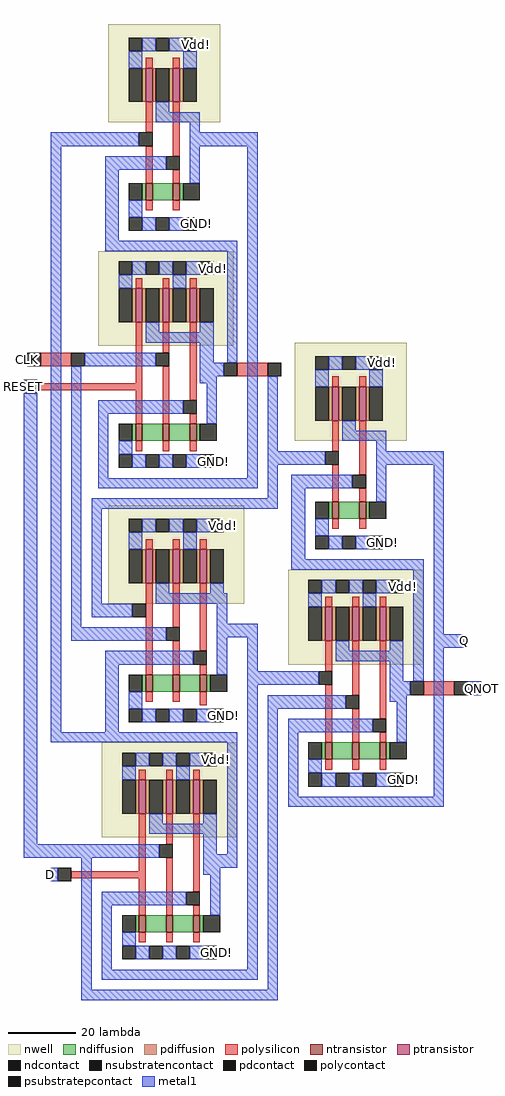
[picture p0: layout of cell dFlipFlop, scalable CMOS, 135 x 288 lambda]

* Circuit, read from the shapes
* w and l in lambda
.subckt dFlipFlop CLK D GND! Q QNOT RESET Vdd!
M1 n1 RESET GND! GND! nfet w=5 l=2
M2 n2 D GND! GND! nfet w=5 l=2
M3 n3 n4 GND! GND! nfet w=5 l=2
M4 n5 n6 GND! GND! nfet w=5 l=2
M5 n7 CLK n1 GND! nfet w=5 l=2
M6 n8 RESET n2 GND! nfet w=5 l=2
M7 n9 CLK n3 GND! nfet w=5 l=2
M8 n10 n4 n5 GND! nfet w=5 l=2
M9 n4 n10 n7 GND! nfet w=5 l=2
M10 n6 n11 n8 GND! nfet w=5 l=2
M11 n11 n6 n9 GND! nfet w=5 l=2
M12 n12 n11 GND! GND! nfet w=5 l=2
M13 n13 n4 GND! GND! nfet w=5 l=2
M14 n14 RESET n12 GND! nfet w=5 l=2
M15 Q QNOT n13 GND! nfet w=5 l=2
M16 QNOT Q n14 GND! nfet w=5 l=2
M17 n4 RESET Vdd! Vdd! pfet w=10 l=2
M18 n6 D Vdd! Vdd! pfet w=10 l=2
M19 n11 n4 Vdd! Vdd! pfet w=10 l=2
M20 n10 n6 Vdd! Vdd! pfet w=10 l=2
M21 Vdd! CLK n4 Vdd! pfet w=10 l=2
M22 Vdd! RESET n6 Vdd! pfet w=10 l=2
M23 Vdd! CLK n11 Vdd! pfet w=10 l=2
M24 Vdd! n4 n10 Vdd! pfet w=10 l=2
M25 n4 n10 Vdd! Vdd! pfet w=10 l=2
M26 n6 n11 Vdd! Vdd! pfet w=10 l=2
M27 n11 n6 Vdd! Vdd! pfet w=10 l=2
M28 QNOT n11 Vdd! Vdd! pfet w=10 l=2
M29 Q n4 Vdd! Vdd! pfet w=10 l=2
M30 Vdd! RESET QNOT Vdd! pfet w=10 l=2
M31 Vdd! QNOT Q Vdd! pfet w=10 l=2
M32 QNOT Q Vdd! Vdd! pfet w=10 l=2
.ends

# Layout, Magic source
magic
tech scmos
<< nwell >>
rect 46 113 79 142
rect 43 47 83 75
rect 101 19 134 48
rect 46 -29 86 0
rect 99 -47 139 -19
rect 44 -98 84 -70
<< polysilicon >>
rect 57 129 59 132
rect 65 129 67 132
rect 57 110 59 119
rect 57 95 59 106
rect 65 103 67 119
rect 65 95 67 99
rect 57 87 59 90
rect 65 87 67 90
rect 54 64 56 67
rect 62 64 64 67
rect 70 64 72 67
rect 26 41 35 45
rect 54 36 56 54
rect 62 45 64 54
rect 25 34 56 36
rect 54 24 56 34
rect 62 24 64 41
rect 70 31 72 54
rect 84 38 93 42
rect 112 35 114 38
rect 120 35 122 38
rect 70 24 72 27
rect 54 16 56 19
rect 62 16 64 19
rect 70 16 72 19
rect 112 16 114 25
rect 112 1 114 12
rect 120 9 122 25
rect 120 1 122 5
rect 112 -7 114 -4
rect 120 -7 122 -4
rect 57 -13 59 -10
rect 65 -13 67 -10
rect 73 -13 75 -10
rect 57 -50 59 -23
rect 65 -36 67 -23
rect 65 -50 67 -40
rect 73 -43 75 -23
rect 110 -30 112 -27
rect 118 -30 120 -27
rect 126 -30 128 -27
rect 73 -50 75 -47
rect 110 -49 112 -40
rect 57 -58 59 -55
rect 65 -58 67 -55
rect 73 -59 75 -55
rect 110 -70 112 -53
rect 118 -56 120 -40
rect 118 -70 120 -60
rect 126 -63 128 -40
rect 139 -56 148 -52
rect 126 -70 128 -67
rect 110 -78 112 -75
rect 118 -78 120 -75
rect 126 -78 128 -75
rect 55 -81 57 -78
rect 63 -81 65 -78
rect 71 -81 73 -78
rect 55 -108 57 -91
rect 63 -100 65 -91
rect 35 -110 57 -108
rect 55 -121 57 -110
rect 63 -121 65 -104
rect 71 -114 73 -91
rect 71 -121 73 -118
rect 55 -129 57 -126
rect 63 -129 65 -126
rect 71 -129 73 -126
<< ndiffusion >>
rect 56 90 57 95
rect 59 90 65 95
rect 67 90 68 95
rect 53 19 54 24
rect 56 19 62 24
rect 64 19 70 24
rect 72 19 73 24
rect 111 -4 112 1
rect 114 -4 120 1
rect 122 -4 123 1
rect 56 -55 57 -50
rect 59 -55 65 -50
rect 67 -55 73 -50
rect 75 -55 76 -50
rect 109 -75 110 -70
rect 112 -75 118 -70
rect 120 -75 126 -70
rect 128 -75 129 -70
rect 54 -126 55 -121
rect 57 -126 63 -121
rect 65 -126 71 -121
rect 73 -126 74 -121
<< pdiffusion >>
rect 56 119 57 129
rect 59 119 60 129
rect 64 119 65 129
rect 67 119 68 129
rect 53 54 54 64
rect 56 54 57 64
rect 61 54 62 64
rect 64 54 65 64
rect 69 54 70 64
rect 72 54 73 64
rect 111 25 112 35
rect 114 25 115 35
rect 119 25 120 35
rect 122 25 123 35
rect 56 -23 57 -13
rect 59 -23 60 -13
rect 64 -23 65 -13
rect 67 -23 68 -13
rect 72 -23 73 -13
rect 75 -23 76 -13
rect 109 -40 110 -30
rect 112 -40 113 -30
rect 117 -40 118 -30
rect 120 -40 121 -30
rect 125 -40 126 -30
rect 128 -40 129 -30
rect 54 -91 55 -81
rect 57 -91 58 -81
rect 62 -91 63 -81
rect 65 -91 66 -81
rect 70 -91 71 -81
rect 73 -91 74 -81
<< metal1 >>
rect 56 134 60 138
rect 64 134 68 138
rect 52 129 56 134
rect 68 129 72 134
rect 60 116 64 119
rect 60 113 73 116
rect 70 110 73 113
rect 29 106 55 110
rect 70 106 90 110
rect 21 -100 25 33
rect 29 -67 32 106
rect 45 99 63 103
rect 45 78 49 99
rect 70 95 73 106
rect 52 85 56 90
rect 56 81 60 85
rect 64 81 68 85
rect 45 75 84 78
rect 53 68 57 72
rect 61 68 65 72
rect 69 68 73 72
rect 49 64 53 68
rect 65 64 69 68
rect 57 51 61 54
rect 73 51 77 54
rect 57 48 77 51
rect 39 41 60 45
rect 73 42 77 48
rect 81 42 84 75
rect 35 -36 38 41
rect 73 38 80 42
rect 73 36 78 38
rect 43 27 68 31
rect 43 8 46 27
rect 75 24 78 36
rect 49 15 53 19
rect 53 11 57 15
rect 61 11 65 15
rect 69 11 73 15
rect 87 8 90 106
rect 43 5 90 8
rect 111 40 115 44
rect 119 40 123 44
rect 93 16 96 38
rect 107 35 111 40
rect 123 35 127 40
rect 115 22 119 25
rect 115 19 128 22
rect 125 16 128 19
rect 93 12 110 16
rect 125 12 145 16
rect 93 2 96 12
rect 41 -1 96 2
rect 100 5 118 9
rect 41 -29 44 -1
rect 56 -8 60 -4
rect 64 -8 68 -4
rect 72 -8 76 -4
rect 52 -13 56 -8
rect 68 -13 72 -8
rect 100 -16 104 5
rect 125 1 128 12
rect 107 -9 111 -4
rect 111 -13 115 -9
rect 119 -13 123 -9
rect 100 -19 139 -16
rect 60 -26 64 -23
rect 76 -26 80 -23
rect 109 -26 113 -22
rect 117 -26 121 -22
rect 125 -26 129 -22
rect 60 -29 81 -26
rect 41 -33 53 -29
rect 78 -35 81 -29
rect 105 -30 109 -26
rect 121 -30 125 -26
rect 35 -40 63 -36
rect 78 -39 90 -35
rect 45 -47 71 -43
rect 45 -67 49 -47
rect 78 -50 81 -39
rect 87 -49 90 -39
rect 113 -43 117 -40
rect 129 -43 133 -40
rect 113 -46 133 -43
rect 87 -53 108 -49
rect 129 -52 133 -46
rect 136 -52 139 -19
rect 52 -60 56 -55
rect 56 -64 60 -60
rect 64 -64 68 -60
rect 72 -64 76 -60
rect 29 -70 84 -67
rect 54 -77 58 -73
rect 62 -77 66 -73
rect 70 -77 74 -73
rect 50 -81 54 -77
rect 66 -81 70 -77
rect 58 -94 62 -91
rect 74 -94 78 -91
rect 58 -97 78 -94
rect 21 -104 61 -100
rect 74 -103 78 -97
rect 81 -103 84 -70
rect 29 -111 31 -107
rect 38 -143 41 -104
rect 74 -107 84 -103
rect 74 -109 79 -107
rect 44 -118 69 -114
rect 44 -137 47 -118
rect 76 -121 79 -109
rect 50 -130 54 -126
rect 54 -134 58 -130
rect 62 -134 66 -130
rect 70 -134 74 -130
rect 87 -137 90 -53
rect 129 -56 135 -52
rect 142 -38 145 12
rect 142 -42 151 -38
rect 44 -140 90 -137
rect 93 -60 116 -56
rect 129 -58 134 -56
rect 93 -143 96 -60
rect 99 -67 124 -63
rect 99 -86 102 -67
rect 131 -70 134 -58
rect 105 -79 109 -75
rect 109 -83 113 -79
rect 117 -83 121 -79
rect 125 -83 129 -79
rect 142 -86 145 -42
rect 152 -56 156 -52
rect 99 -89 145 -86
rect 38 -146 96 -143
<< ntransistor >>
rect 57 90 59 95
rect 65 90 67 95
rect 54 19 56 24
rect 62 19 64 24
rect 70 19 72 24
rect 112 -4 114 1
rect 120 -4 122 1
rect 57 -55 59 -50
rect 65 -55 67 -50
rect 73 -55 75 -50
rect 110 -75 112 -70
rect 118 -75 120 -70
rect 126 -75 128 -70
rect 55 -126 57 -121
rect 63 -126 65 -121
rect 71 -126 73 -121
<< ptransistor >>
rect 57 119 59 129
rect 65 119 67 129
rect 54 54 56 64
rect 62 54 64 64
rect 70 54 72 64
rect 112 25 114 35
rect 120 25 122 35
rect 57 -23 59 -13
rect 65 -23 67 -13
rect 73 -23 75 -13
rect 110 -40 112 -30
rect 118 -40 120 -30
rect 126 -40 128 -30
rect 55 -91 57 -81
rect 63 -91 65 -81
rect 71 -91 73 -81
<< polycontact >>
rect 55 106 59 110
rect 63 99 67 103
rect 22 41 26 45
rect 35 41 39 45
rect 21 33 25 37
rect 60 41 64 45
rect 80 38 84 42
rect 93 38 97 42
rect 68 27 72 31
rect 110 12 114 16
rect 118 5 122 9
rect 53 -33 57 -29
rect 63 -40 67 -36
rect 71 -47 75 -43
rect 108 -53 112 -49
rect 116 -60 120 -56
rect 135 -56 139 -52
rect 148 -56 152 -52
rect 124 -67 128 -63
rect 31 -111 35 -107
rect 61 -104 65 -100
rect 69 -118 73 -114
<< ndcontact >>
rect 52 90 56 95
rect 68 90 73 95
rect 49 19 53 24
rect 73 19 78 24
rect 107 -4 111 1
rect 123 -4 128 1
rect 52 -55 56 -50
rect 76 -55 81 -50
rect 105 -75 109 -70
rect 129 -75 134 -70
rect 50 -126 54 -121
rect 74 -126 79 -121
<< pdcontact >>
rect 52 119 56 129
rect 60 119 64 129
rect 68 119 72 129
rect 49 54 53 64
rect 57 54 61 64
rect 65 54 69 64
rect 73 54 77 64
rect 107 25 111 35
rect 115 25 119 35
rect 123 25 127 35
rect 52 -23 56 -13
rect 60 -23 64 -13
rect 68 -23 72 -13
rect 76 -23 80 -13
rect 105 -40 109 -30
rect 113 -40 117 -30
rect 121 -40 125 -30
rect 129 -40 133 -30
rect 50 -91 54 -81
rect 58 -91 62 -81
rect 66 -91 70 -81
rect 74 -91 78 -81
<< psubstratepcontact >>
rect 52 81 56 85
rect 60 81 64 85
rect 68 81 72 85
rect 49 11 53 15
rect 57 11 61 15
rect 65 11 69 15
rect 73 11 77 15
rect 107 -13 111 -9
rect 115 -13 119 -9
rect 123 -13 127 -9
rect 52 -64 56 -60
rect 60 -64 64 -60
rect 68 -64 72 -60
rect 76 -64 80 -60
rect 105 -83 109 -79
rect 113 -83 117 -79
rect 121 -83 125 -79
rect 129 -83 133 -79
rect 50 -134 54 -130
rect 58 -134 62 -130
rect 66 -134 70 -130
rect 74 -134 78 -130
<< nsubstratencontact >>
rect 52 134 56 138
rect 60 134 64 138
rect 68 134 72 138
rect 49 68 53 72
rect 57 68 61 72
rect 65 68 69 72
rect 73 68 77 72
rect 107 40 111 44
rect 115 40 119 44
rect 123 40 127 44
rect 52 -8 56 -4
rect 60 -8 64 -4
rect 68 -8 72 -4
rect 76 -8 80 -4
rect 105 -26 109 -22
rect 113 -26 117 -22
rect 121 -26 125 -22
rect 129 -26 133 -22
rect 50 -77 54 -73
rect 58 -77 62 -73
rect 66 -77 70 -73
rect 74 -77 78 -73
<< labels >>
rlabel nsubstratencontact 80 -8 80 -4 1 Vdd!
rlabel psubstratepcontact 80 -64 80 -60 1 GND!
rlabel psubstratepcontact 127 -13 127 -9 1 GND!
rlabel nsubstratencontact 127 40 127 44 1 Vdd!
rlabel nsubstratencontact 72 134 72 138 1 Vdd!
rlabel psubstratepcontact 72 81 72 85 1 GND!
rlabel nsubstratencontact 77 68 77 72 1 Vdd!
rlabel psubstratepcontact 77 11 77 15 1 GND!
rlabel polycontact 22 41 22 45 3 CLK
rlabel polycontact 21 33 21 37 3 RESET
rlabel nsubstratencontact 78 -77 78 -73 1 Vdd!
rlabel psubstratepcontact 78 -134 78 -130 1 GND!
rlabel nsubstratencontact 133 -26 133 -22 1 Vdd!
rlabel psubstratepcontact 133 -83 133 -79 1 GND!
rlabel metal1 156 -56 156 -52 7 QNOT
rlabel metal1 151 -42 151 -38 7 Q
rlabel metal1 29 -111 29 -107 1 D
<< end >>
